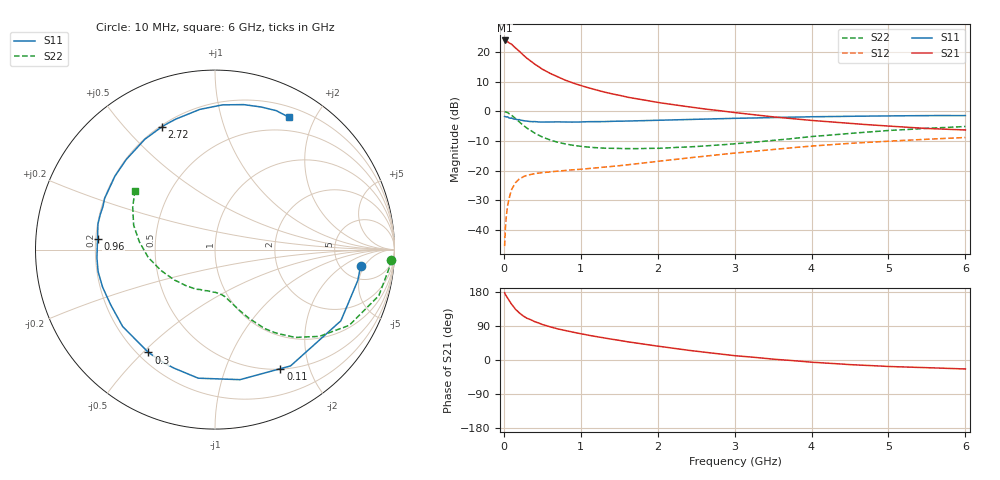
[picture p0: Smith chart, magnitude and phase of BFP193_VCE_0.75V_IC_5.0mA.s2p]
! Infineon Technologies  Discrete & RF Semiconductors
! BFP193
! VCE = 0.75V,  IC =  5.0 mA
! Common Emitter S-Parameters:  Jan 2016
# GHz  S  MA  R  50
!  f  S11  S21  S12  S22
! GHz  MAG  ANG  MAG  ANG  MAG  ANG  MAG  ANG
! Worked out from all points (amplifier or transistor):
!   210 points, 10 MHz to 6 GHz, reference 50 ohm
!   highest |S21| = 23.9 dB at 10 MHz (marker M1)
!   |S21| within 3 dB of that: start of sweep to 172.3 MHz
!   unconditionally stable (mu >= 1): 1.203 GHz to 4.26 GHz
!   at 185 MHz: K = 0.21, MSG = 21.9 dB, |S12| = -23.2 dB
!   at 1.52 GHz: K = 1.11, MAG = 9.8 dB, |S12| = -18.3 dB
!   at 6 GHz: K = 0.99, MSG = 1.3 dB, |S12| = -8.9 dB
!   S11 on the Smith chart (normalised r, x): 10 MHz: 7.55, -4.19; 110 MHz: 0.51, -1.57; 300 MHz: 0.24, -0.52; 960 MHz: 0.21, +0.04; 2.72 GHz: 0.21, +0.64; 6 GHz: 0.32, +1.66
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0.01  0.8165 -6.5  15.63 177.4  0.0053 88.3  0.9832 -3.3
0.02  0.814 -12.2  15.18 172.6  0.0106 83.9  0.975 -6.3
0.05  0.8058 -29.5  14.81 162.5  0.026 74.4  0.9482 -15.7
0.1  0.7728 -57.0  13.54 147.2  0.0474 62.4  0.8591 -29.4
0.11  0.757 -61.2  13.13 144.9  0.0502 59.9  0.8366 -31.3
0.15  0.7379 -79.1  11.74 134.1  0.0621 52.2  0.7566 -39.7
0.2  0.7225 -97.4  10.32 124.3  0.0719 44.9  0.6636 -47.5
0.26  0.6926 -114.0  8.696 115.1  0.0793 38.9  0.5677 -54.4
0.3  0.6828 -122.9  7.827 110.3  0.0831 36.5  0.5201 -57.8
0.4  0.6696 -140.2  6.249 101.2  0.0889 31.9  0.4283 -63.6
0.5  0.6575 -152.1  5.126 93.7  0.0923 29.3  0.3674 -67.9
0.6  0.6603 -161.5  4.362 87.5  0.0951 28.4  0.3269 -71.1
0.7  0.6627 -169.3  3.792 82.1  0.0975 28.0  0.2998 -74.0
0.96  0.657 174.9  2.82 70.9  0.1042 28.6  0.2597 -80.0
1.02  0.6605 171.7  2.666 68.5  0.1056 29.0  0.2542 -81.5
1.4  0.6778 155.2  1.97 55.0  0.1171 31.7  0.2378 -91.7
2.02  0.7052 133.8  1.397 36.1  0.1439 35.1  0.2372 -110.4
2.72  0.744 113.5  1.052 18.0  0.1807 34.7  0.2641 -133.9
3.1  0.7624 104.5  0.919 9.8  0.2029 32.8  0.289 -146.6
4.1  0.8094 85.3  0.684 -7.0  0.2641 24.9  0.3828 -176.1
5.1  0.8365 70.9  0.552 -17.7  0.3177 14.4  0.4806 161.0
6  0.8449 60.8  0.483 -23.7  0.3604 4.3  0.5537 143.7
